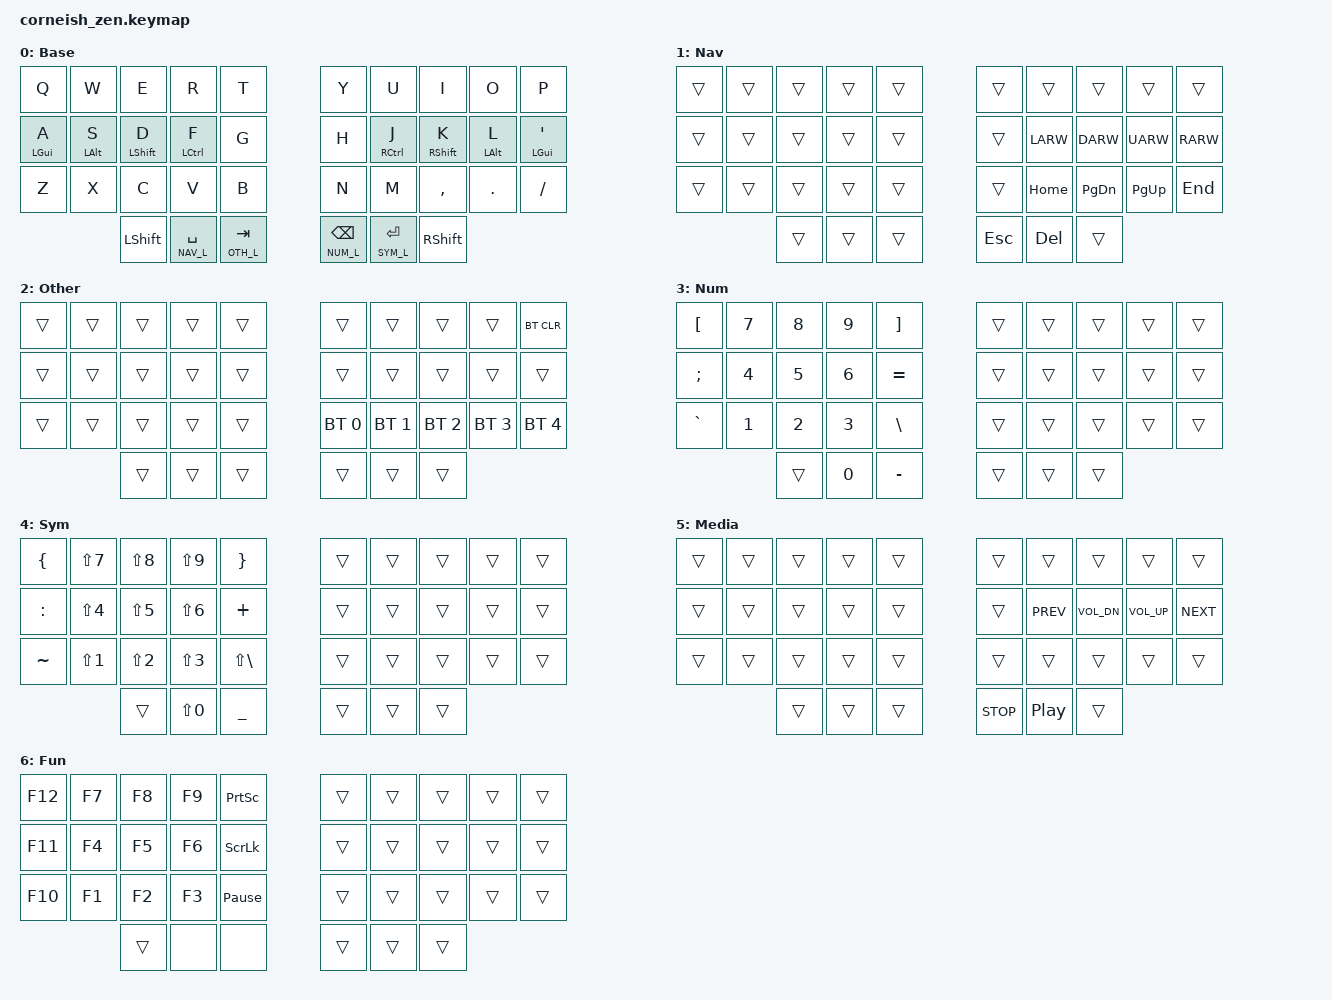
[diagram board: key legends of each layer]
#include <behaviors.dtsi>
#include <dt-bindings/zmk/keys.h>
#include <dt-bindings/zmk/bt.h>

#define NAV_L 1
#define OTH_L 2
#define NUM_L 3
#define SYM_L 4
#define MED_L 5
#define FUN_L 6

/ {
  chosen {
    //zmk,matrix_transform = &default_transform;
    zmk,matrix_transform = &five_column_transform;
  };
};

// Using layer taps on thumbs, having quick tap as well helps w/ repeating space/backspace
&lt { quick_tap_ms = <200>; };

/ {

   combos {
        compatible = "zmk,combos";

        med_mo {
	    timeout-ms = <50>;
            key-positions = <30 31>;
            bindings = <&mo MED_L>;
        };

        fn_mo {
	    timeout-ms = <50>;
            key-positions = <32 33>;
            bindings = <&mo FUN_L>;
        };
	
        combo_cut {
            timeout-ms = <50>;
            key-positions = <21 23>;
            bindings = <&kp LC(X)>;
        };  
	
        combo_copy {
            timeout-ms = <50>;
            key-positions = <21 22>;
            bindings = <&kp LC(C)>;
        };  
	
        combo_paste {
            timeout-ms = <50>;
            key-positions = <22 23>;
            bindings = <&mt LS(LC(V)) LC(V)>;
        }; 
        combo_bs_left {
            timeout-ms = <50>;
            key-positions = <5 6>;
            layers = <0>;
            bindings = <&kp LC(BSPC)>;
        }; 
	
       combo_lpar {
            timeout-ms = <50>;
            key-positions = <12 13>;
            layers = <0>;
            bindings = <&kp LPAR>;
        };  
        combo_rpar {
            timeout-ms = <50>;
            key-positions = <16 17>;
            layers = <0>;
            bindings = <&kp RPAR>;
        };  
        combo_rbrac {
            timeout-ms = <50>;
            key-positions = <17 18>;
            layers = <0>;
            bindings = <&mt RBRC RBKT>;
        }; 
        combo_lbrac {
            timeout-ms = <50>;
            key-positions = <11 12>;
            layers = <0>;
            bindings = <&mt LBRC LBKT>;
        };
        combo_lpar_veritcal {
            timeout-ms = <50>;
            key-positions = <3 13>;
            layers = <0>;
            bindings = <&kp LPAR>;
        };  
        combo_rpar_vertical {
            timeout-ms = <50>;
            key-positions = <6 16>;
            layers = <0>;
            bindings = <&kp RPAR>;
        };  
        combo_rbrac_vertical {
            timeout-ms = <50>;
            key-positions = <7 17>;
            layers = <0>;
            bindings = <&mt RBRC RBKT>;
        }; 
        combo_lbrac_vertical {
            timeout-ms = <50>;
            key-positions = <2 12>;
            layers = <0>;
            bindings = <&mt LBRC LBKT>;
        }; 
	
       combo_eq_vertical {
            timeout-ms = <50>;
            key-positions = <4 14>;
            layers = <0>;
            bindings = <&mt EQUAL PLUS>;
        };	
       combo_cap_word{
            timeout-ms = <50>;
            key-positions = <16 13>;
            layers = <0>;
            bindings = <&caps_word>;
        };
    };


    behaviors {
        hm: homerow_mods {
            compatible = "zmk,behavior-hold-tap";
            label = "homerow mods";
            #binding-cells = <2>;
            tapping-term-ms = <200>;
            flavor = "tap-preferred";
            bindings = <&kp>, <&kp>;
        };
    };


    keymap {
        compatible = "zmk,keymap";

        default_layer {
            label = "Base";
            bindings = <
                &kp Q     &kp W      &kp E       &kp R          &kp T         &kp Y            &kp U          &kp I       &kp O      &kp P
                &hm LGUI A &hm LALT S &hm LSHFT D &hm LCTRL F    &kp G         &kp H            &hm RCTRL J  &hm RSHFT K &hm LALT L &hm LGUI QUOT
                &kp Z      &kp X      &kp C       &kp V          &kp B         &kp N            &kp M          &kp COMMA   &kp DOT    &kp FSLH
                                            &kp LSHFT      &lt NAV_L SPACE  &lt OTH_L TAB &lt NUM_L BKSP  &lt SYM_L RET &kp RSHFT  
            >;
        };

        nav_layer {
            label = "Nav";
            bindings = <
                &trans     &trans     &trans      &trans          &trans       &trans           &trans         &trans      &trans     &trans
                &trans     &trans     &trans      &trans          &trans       &trans           &kp LARW       &kp DARW    &kp UARW   &kp RARW
                &trans     &trans     &trans      &trans          &trans       &trans           &kp HOME       &kp PG_DN   &kp PG_UP  &kp END
                                             &trans       &trans          &trans       &kp ESC          &kp DEL &trans  
            >;
        };

        other_layer {
            label = "Other";
            bindings = <
                &trans	   &trans     &trans      &trans          &trans       &trans           &trans         &trans       &trans       &bt BT_CLR
                &trans     &trans     &trans      &trans          &trans       &trans           &trans         &trans       &trans       &trans
                &trans     &trans     &trans      &trans          &trans       &bt BT_SEL 0     &bt BT_SEL 1   &bt BT_SEL 2 &bt BT_SEL 3 &bt BT_SEL 4
                                             &trans       &trans          &trans       &trans           &trans &trans  
            >;
        };

        num_layer {
            label = "Num";
            bindings = <
                &kp LBKT   &kp N7     &kp N8      &kp N9          &kp RBKT      &trans          &trans         &trans      &trans     &trans
                &kp SEMI   &kp N4     &kp N5      &kp N6          &kp EQUAL     &trans          &trans         &trans      &trans     &trans
                &kp GRAVE  &kp N1     &kp N2      &kp N3          &kp BSLH      &trans          &trans         &trans      &trans     &trans
                                         &trans           &kp N0          &kp MINUS     &trans          &trans &trans  
            >;
        };

        sym_layer {
            label = "Sym";
            bindings = <
                &kp LBRC     &kp LS(N7)  &kp LS(N8)  &kp LS(N9) &kp RBRC        &trans &trans   &trans    &trans    &trans
                &kp COLON    &kp LS(N4)  &kp LS(N5)  &kp LS(N6) &kp PLUS        &trans &trans   &trans    &trans    &trans
                &kp TILDE    &kp LS(N1)  &kp LS(N2)  &kp LS(N3) &kp LS(BSLH)    &trans &trans   &trans    &trans    &trans
                                       &trans              &kp LS(N0) &kp UNDER         &trans &trans &trans  
            >;
        };

        media_layer {
            label = "Media";
            bindings = <
                &trans	   &trans     &trans      &trans          &trans       &trans           &trans         &trans       &trans       &trans
                &trans     &trans     &trans      &trans          &trans       &trans           &kp C_PREV     &kp C_VOL_DN &kp C_VOL_UP &kp C_NEXT
                &trans     &trans     &trans      &trans          &trans       &trans           &trans         &trans       &trans       &trans
                                       &trans             &trans          &trans       &kp C_STOP       &kp C_PLAY_PAUSE &trans  
            >;
        };

        fun_layer {
            label = "Fun";
            bindings = <
                &kp F12     &kp F7     &kp F8      &kp F9     &kp PSCRN         &trans          &trans         &trans      &trans     &trans
                &kp F11     &kp F4     &kp F5      &kp F6     &kp SLCK          &trans          &trans         &trans      &trans     &trans
                &kp F10     &kp F1     &kp F2      &kp F3     &kp PAUSE_BREAK   &trans          &trans         &trans      &trans     &trans
                                           &trans          &none      &none             &trans          &trans &trans  
            >;
        };
        };
};
